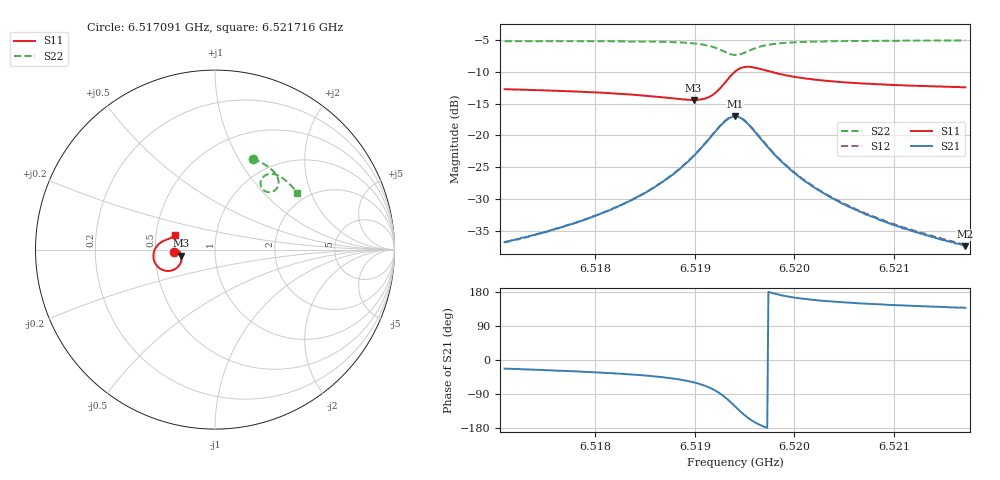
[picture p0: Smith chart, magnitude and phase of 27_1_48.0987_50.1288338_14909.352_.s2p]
#  HZ  S  RI  R  50.00
! Rohde & Schwarz Vector Network Analyzer
! Rohde-Schwarz,ZNB20-2Port,1311601062101988,3.16
! Created: UTC 12/23/2023, 3:37:16 AM
! freq[Hz]  re:S11  im:S11  re:S21  im:S21  re:S12  im:S12  re:S22  im:S22
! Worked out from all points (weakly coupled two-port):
!   401 points, 6.517091 GHz to 6.521716 GHz, reference 50 ohm
!   highest |S21| = -17.02 dB at 6.519404 GHz (marker M1); lowest = -37.4 dB at 6.521716 GHz (marker M2)
!   lowest |S11| = -14.4 dB at 6.518987 GHz (marker M3), VSWR 1.47, Z = 34.2 - j2.45 ohm
!   |S11| at or under -10 dB: start of sweep to 6.519402 GHz; 6.519758 GHz to end of sweep
!   |S22| runs from -7.4 to -5.1 dB; largest |S21 - S12| = 0.0043
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6.5170907e9  -0.2301 -0.0152  0.0135 -0.00561  0.0136 -0.00522  0.2104 0.5067
6.5175186e9  -0.2252 -0.00915  0.0157 -0.00796  0.016 -0.00745  0.242 0.4927
6.5178655e9  -0.22 -0.00531  0.0184 -0.0109  0.0188 -0.0104  0.2676 0.4795
6.5182818e9  -0.2113 -0.00376  0.0232 -0.0173  0.0239 -0.0166  0.299 0.4591
6.5186403e9  -0.2004 -0.00887  0.0294 -0.029  0.0306 -0.0281  0.3267 0.435
6.5188022e9  -0.1939 -0.0163  0.033 -0.0389  0.0344 -0.0381  0.3394 0.4195
6.5189873e9  -0.1867 -0.0346  0.0355 -0.0587  0.0376 -0.0582  0.3517 0.3939
6.5191029e9  -0.1864 -0.0564  0.0321 -0.08  0.0347 -0.0796  0.3543 0.3702
6.5191839e9  -0.1937 -0.0785  0.0221 -0.0999  0.0252 -0.1  0.3491 0.3498
6.5193111e9  -0.2376 -0.1153  -0.0225 -0.1288  -0.019 -0.1304  0.3146 0.3211
6.5193573e9  -0.2661 -0.1189  -0.0488 -0.1292  -0.0454 -0.1316  0.2938 0.3204
6.5194036e9  -0.2967 -0.1111  -0.0752 -0.1191  -0.0725 -0.1222  0.2736 0.329
6.5194498e9  -0.322 -0.0921  -0.0958 -0.0998  -0.0938 -0.1032  0.2592 0.3456
6.5195077e9  -0.3399 -0.0599  -0.1082 -0.0697  -0.107 -0.0732  0.2535 0.3707
6.5196117e9  -0.339 -0.00862  -0.1016 -0.0258  -0.1018 -0.0289  0.2682 0.4044
6.5197158e9  -0.322 0.0212  -0.0839 -0.00291  -0.0845 -0.00548  0.2915 0.419
6.5199355e9  -0.2905 0.0464  -0.0547 0.0123  -0.0556 0.0107  0.3308 0.4199
6.5201784e9  -0.2698 0.0556  -0.0373 0.0144  -0.0383 0.0136  0.3595 0.4087
6.5205022e9  -0.2538 0.0619  -0.0254 0.0135  -0.026 0.0129  0.3872 0.3904
6.5209532e9  -0.2402 0.0685  -0.0168 0.0116  -0.0175 0.0112  0.4171 0.3636
6.5212654e9  -0.2335 0.0727  -0.0134 0.0104  -0.0139 0.0103  0.4346 0.3446
6.5217164e9  -0.2252 0.0789  -0.01 0.00912  -0.0105 0.00904  0.4572 0.3167
